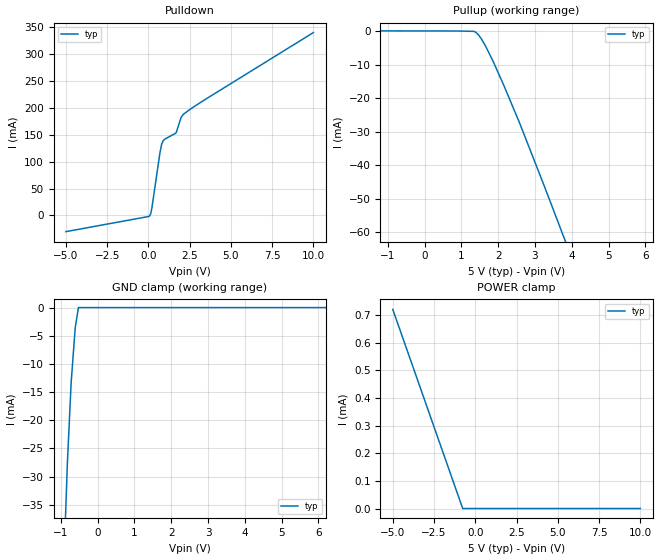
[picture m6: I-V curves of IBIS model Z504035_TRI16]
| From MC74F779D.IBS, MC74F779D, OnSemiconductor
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| (C) COPYRIGHT 1993-2000
| MENTOR GRAPHICS CORPORATION
| ICX STANDARD LIBRARY, ICX PROJECT MODELING,
| ICX CUSTOM MODELING, ICX VENDOR MODEL
| ALL RIGHTS RESERVED.
| THE FOLLOWING ARE TRADEMARKS OR SERVICE MARKS OF
| MENTOR GRAPHICS CORPORATION:ICX (R), ICX STANDARD
| LIBRARY(R), ICX PROJECT MODELING(R), ICX CUSTOM
| MODELING(R), qualityIBIS(TM), MODELVIEWER(TM),
| AND MODELEDITOR(TM)
| ALL COPIES OF SOFTWARE, INCLUDING BUT NOT LIMITED TO
| ANY MODIFICATIONS, ENHANCEMENTS OR DERIVATIVE WORKS,
| MUST CONTAIN ALL MENTOR GRAPHICS CORPORATION'S
| NOTICES AND LEGENDS, INCLUDING THOSE EMBEDDED IN
| SOFTWARE AND THOSE AFFIXED TO SOFTWARE MEDIUM
| AND CONTAINER, AS RECEIVED FROM MENTOR GRAPHICS
| CORPORATION.
| Model Application Version 1.89 2/18/99.
[Model] Z504035_TRI16
Model_type 3-state
Vref=2.500V
Rref=500.0Mohms
Cref=50.00pF
Vmeas=1.600V
C_comp 8.000pF NA NA
| variable typ   min   max
[Voltage Range] 5.000V NA NA
[POWER Clamp Reference] 5.000V NA NA
[Pullup Reference] 5.000V NA NA
[Pulldown Reference] 0.000V NA NA
[GND Clamp Reference] 0.000V NA NA
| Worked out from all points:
|   slope of the pulldown table from 0 to 0.75 V, typ, clamps not added: 5.94 ohm
|   slope of the pullup table from 0 to 0.75 V, typ, clamps not added: 60.7 kohm
|   GND clamp passes 1 mA (typ) near -0.55 V on its own axis
[GND Clamp]
-5V       -814.1mA   NA         NA
-824.2mV  -27.69mA   NA         NA
-722.3mV  -13.46mA   NA         NA
-610.7mV  -3.597mA   NA         NA
-523.5mV  0A         NA         NA
10V       0A         NA         NA
[Pulldown]
-5V       -30.05mA   NA         NA
43.11mV   -1.623mA   NA         NA
141.3mV   3.653mA    NA         NA
208.3mV   13.37mA    NA         NA
700mV     116.6mA    NA         NA
800.7mV   132.2mA    NA         NA
992mV     141.6mA    NA         NA
1.685V    153.7mA    NA         NA
1.974V    181.2mA    NA         NA
2.054V    185.4mA    NA         NA
3.366V    213.8mA    NA         NA
10V       339.4mA    NA         NA
[Pullup]
-5V       158.6uA    NA         NA
1.346V    -68.93uA   NA         NA
1.463V    -1.056mA   NA         NA
1.545V    -2.286mA   NA         NA
1.66V     -4.484mA   NA         NA
1.856V    -8.835mA   NA         NA
2.153V    -16.15mA   NA         NA
2.582V    -27.39mA   NA         NA
3.262V    -46.48mA   NA         NA
10V       -240.4mA   NA         NA
[POWER Clamp]
-5V       721.3uA    NA         NA
-763mV    0A         NA         NA
10V       0A         NA         NA
[Ramp]
| variable typ min max
dV/dt_r 1.898/1.873n NA NA
dV/dt_f 1.898/1.924n NA NA
R_load = 500.0Ohms
